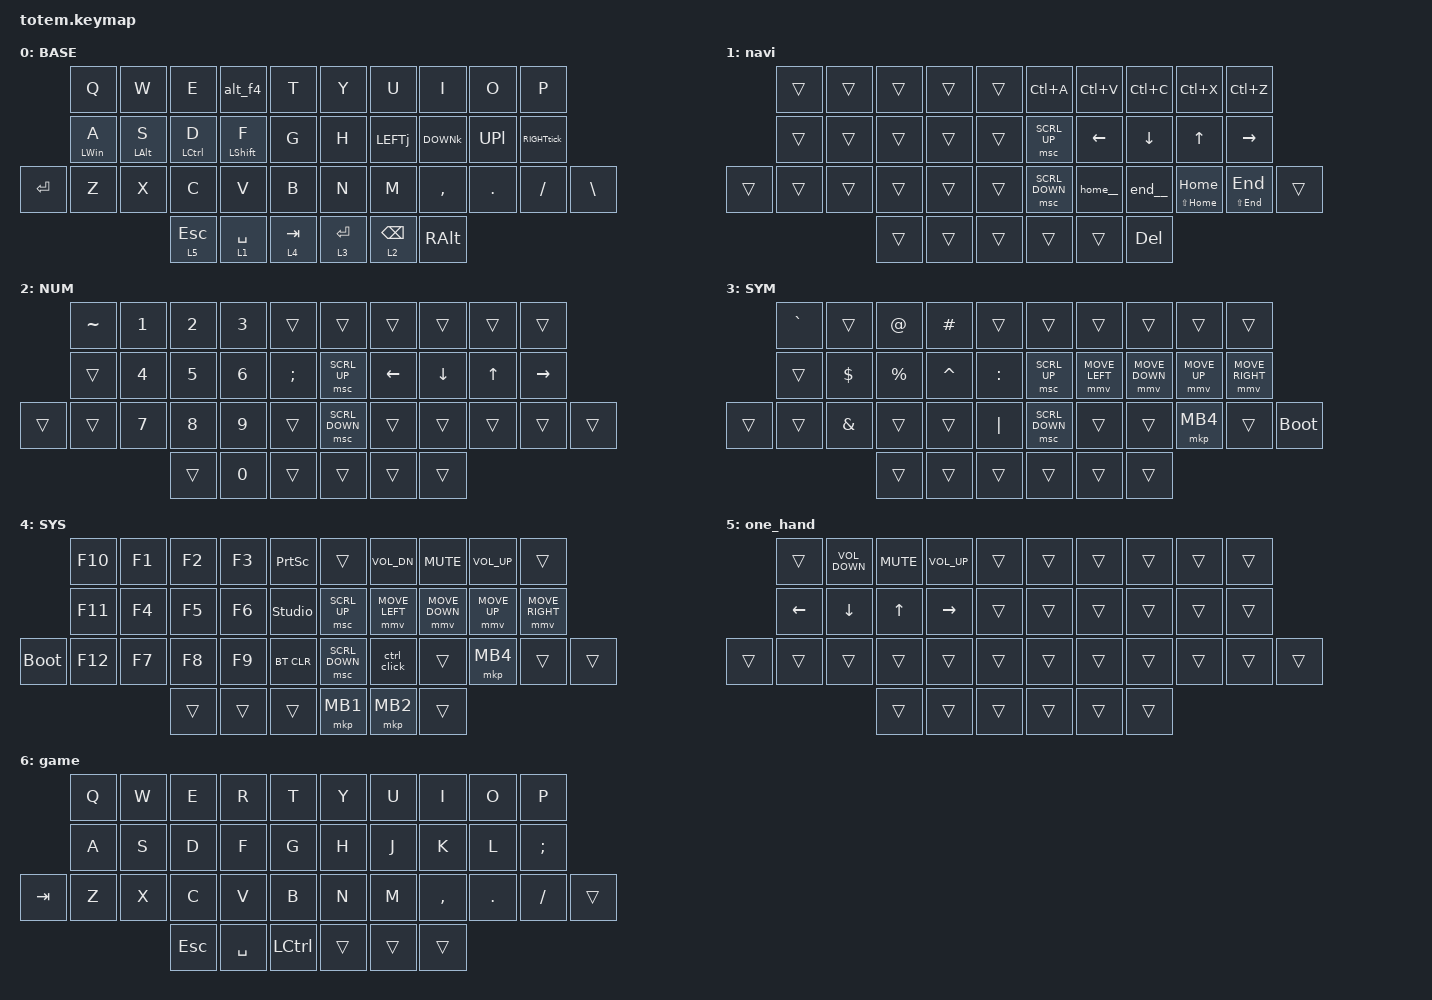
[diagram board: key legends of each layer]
//
//                                                        ▀▀▀▀▀     ▀▀▀▀▀          ▀▀█▀▀
//                                                        ▄▀▀▀▄  ▄  ▄▀▀▀▄  ▄  ▄▀▀▀▄  █  ▄▀▀▀▄
//                                                        █   █  █  █   █  █  █   █  █  █   █
//                                                         ▀▀▀   █   ▀▀▀   █   ▀▀▀   ▀   ▀▀▀
//                                                               █      ▄▄▄█▄▄▄    █   █  
//                                                               ▀      █  █  █     █▄█
//                                                             ▀▀▀▀▀    █  █  █      ▀
//                                                                      ▀  ▀  ▀
//
// ▄▄▄▄▄▄▄▄▄▄▄▄▄▄▄▄▄▄▄▄▄▄▄▄▄▄▄▄▄▄▄▄▄▄▄▄▄▄▄▄▄▄▄▄▄▄▄▄▄▄▄▄▄▄▄▄▄▄▄▄▄▄▄▄▄▄▄▄▄▄▄▄▄▄▄▄▄▄▄▄▄▄▄▄▄▄▄▄▄▄▄▄▄▄▄▄▄▄▄▄▄▄▄▄▄▄▄▄▄▄▄▄▄▄▄▄▄▄▄▄▄▄▄▄▄▄▄▄▄▄▄▄▄▄▄▄▄▄▄▄▄▄▄▄▄▄▄▄▄

#include <behaviors.dtsi>
#include <dt-bindings/zmk/bt.h>
#include <dt-bindings/zmk/keys.h>
#include <dt-bindings/zmk/pointing.h>

&mt {
    quick-tap-ms = <100>;
    global-quick-tap;
    flavor = "tap-preferred";
    tapping-term-ms = <170>;
};

/ {
    behaviors {
        s_left: s_left {
            compatible = "zmk,behavior-hold-tap";
            label = "s_left";
            bindings = <&kp>, <&kp>;

            #binding-cells = <2>;
            tapping-term-ms = <170>;
            quick-tap-ms = <150>;
            flavor = "tap-preferred";
            hold-trigger-key-positions = <5 6 7 8 9 15 16 17 18 19 26 27 28 29 30 31 37 36 35>;
            hold-trigger-on-release;
        };

        amrwin: amrwin {
            compatible = "zmk,behavior-hold-tap";
            label = "AMR";
            bindings = <&kp>, <&kp>;

            #binding-cells = <2>;
            tapping-term-ms = <200>;
            quick-tap-ms = <150>;
            flavor = "tap-preferred";
            hold-trigger-on-release;
            hold-trigger-key-positions = <37 36 35>;
        };

        home__: home__ {
            compatible = "zmk,behavior-tap-dance";
            label = "HOME__";
            #binding-cells = <0>;
            bindings = <&mt PAGE_UP HOME>, <&kp LS(HOME)>;
        };

        end__: end__ {
            compatible = "zmk,behavior-tap-dance";
            label = "END__";
            #binding-cells = <0>;
            bindings = <&mt PAGE_DOWN END>, <&kp LS(END)>;
        };

        s_right: s_right {
            compatible = "zmk,behavior-hold-tap";
            label = "S_RIGHT";
            bindings = <&kp>, <&kp>;

            #binding-cells = <2>;
            tapping-term-ms = <170>;
            quick-tap-ms = <150>;
            flavor = "balanced";
            hold-trigger-on-release;
            hold-trigger-key-positions = <0 2 1 4 3 0 1 2 3 4 10 11 12 13 14 20 21 22 23 24 25 32 33 34>;
        };

        aml: aml {
            compatible = "zmk,behavior-hold-tap";
            label = "AML";
            bindings = <&kp>, <&kp>;

            #binding-cells = <2>;
            tapping-term-ms = <200>;
            quick-tap-ms = <150>;
            flavor = "tap-preferred";
            hold-trigger-on-release;
            hold-trigger-key-positions = <32 33 34>;
        };

        alt_f4: alt_f4 {
            compatible = "zmk,behavior-mod-morph";
            label = "ALT_F4";
            bindings = <&kp R>, <&kp F4>;

            #binding-cells = <0>;
            mods = <(MOD_LALT)>;
            keep-mods = <(MOD_LALT)>;
        };

        LEFTj: LEFTj {
            compatible = "zmk,behavior-mod-morph";
            label = "LEFTJ";
            bindings = <&s_right LEFT_SHIFT J>, <&kp LEFT>;

            #binding-cells = <0>;
            mods = <(MOD_LGUI|MOD_LALT)>;
            keep-mods = <(MOD_LGUI|MOD_LALT)>;
        };

        DOWNk: DOWNk {
            compatible = "zmk,behavior-mod-morph";
            label = "DOWNK";
            bindings = <&amrwin LCTRL K>, <&kp DOWN>;

            #binding-cells = <0>;
            mods = <(MOD_LGUI)>;
            keep-mods = <(MOD_LGUI)>;
        };

        RIGHTtick: RIGHTtick {
            compatible = "zmk,behavior-mod-morph";
            label = "RIGHTTICK";
            bindings = <&amrwin LEFT_WIN SQT>, <&kp RIGHT>;

            #binding-cells = <0>;
            mods = <(MOD_LGUI|MOD_LALT)>;
            keep-mods = <(MOD_LGUI|MOD_LALT)>;
        };

        UPl: UPl {
            compatible = "zmk,behavior-mod-morph";
            label = "UPL";
            bindings = <&amrwin LEFT_ALT L>, <&kp UP_ARROW>;

            #binding-cells = <0>;
            mods = <(MOD_LGUI)>;
            keep-mods = <(MOD_LGUI)>;
        };

        backspace: backspace {
            compatible = "zmk,behavior-hold-tap";
            label = "BACKSPACE";
            bindings = <&mo>, <&kp>;

            #binding-cells = <2>;
            quick-tap-ms = <190>;
            tapping-term-ms = <200>;
            flavor = "balanced";
        };

        amlwin: amlwin {
            compatible = "zmk,behavior-hold-tap";
            label = "AMLWIN";
            bindings = <&kp>, <&kp>;

            #binding-cells = <2>;
            tapping-term-ms = <200>;
            quick-tap-ms = <200>;
            require-prior-idle-ms = <200>;
            flavor = "tap-preferred";
            hold-trigger-on-release;
            hold-trigger-key-positions = <32 33 34>;
        };
    };

    combos {
        compatible = "zmk,combos";

        paren_l {
            bindings = <&kp LEFT_PARENTHESIS>;
            key-positions = <11 12>;
            layers = <0 2 1 3 4>;
        };

        parent_r {
            bindings = <&kp RIGHT_PARENTHESIS>;
            key-positions = <12 13>;
            layers = <0 2 1 3 4>;
        };

        leftbrace {
            bindings = <&kp LEFT_BRACE>;
            key-positions = <1 2>;
            layers = <0 2 1 3 4>;
        };

        rightbrace {
            bindings = <&kp RIGHT_BRACE>;
            key-positions = <2 3>;
            layers = <0 2 1 3 4>;
        };

        leftbraket {
            bindings = <&kp LEFT_BRACKET>;
            key-positions = <22 23>;
            layers = <0 2 1 3 4>;
        };

        rightbraket {
            bindings = <&kp RIGHT_BRACKET>;
            key-positions = <23 24>;
            layers = <0 2 1 3 4>;
        };

        underb {
            bindings = <&kp UNDERSCORE>;
            key-positions = <17 18>;
            layers = <0 2 1 3 4>;
        };

        equal {
            bindings = <&kp EQUAL>;
            key-positions = <18 19>;
            layers = <0 2 1 3 4>;
        };

        minus {
            bindings = <&kp MINUS>;
            key-positions = <16 17>;
            layers = <0 2 1 3 4>;
        };

        plus {
            bindings = <&kp PLUS>;
            key-positions = <13 14>;
            layers = <0 2 1 3 4>;
        };

        multi {
            bindings = <&kp ASTERISK>;
            key-positions = <24 25>;
            layers = <0 2 1 3 4>;
        };

        excl {
            bindings = <&kp EXCLAMATION>;
            key-positions = <11 10>;
            layers = <0 2 1 3 4>;
        };

        del {
            bindings = <&kp DEL>;
            key-positions = <2 13>;
            layers = <0 2 1 3 4>;
        };

        capslock {
            bindings = <&kp CAPSLOCK>;
            key-positions = <13 16 12 17>;
            layers = <0 2 1 3 4>;
        };

        return {
            bindings = <&kp ENTER>;
            key-positions = <32 2>;
            layers = <0 2 1 3 4>;
        };

        game_mode {
            bindings = <&tog 6>;
            key-positions = <20 31>;
        };
    };

    macros {
        ctrl_click: ctrl_click {
            compatible = "zmk,behavior-macro";
            #binding-cells = <0>;
            bindings =
                <&macro_press>,
                <&kp LCTRL>,
                <&macro_tap>,
                <&mkp MB1>,
                <&macro_release>,
                <&kp LCTRL>;

            label = "CTRL_CLICK";
        };
    };

    keymap {
        compatible = "zmk,keymap";

        // ▄▄▄▄▄▄▄▄▄▄▄▄▄▄▄▄▄▄▄▄▄▄▄▄▄▄▄▄▄▄▄▄▄▄▄▄▄▄▄▄▄▄▄▄▄▄▄▄▄▄▄▄▄▄▄▄▄▄▄▄▄▄▄▄▄▄▄▄▄▄▄▄▄▄▄▄▄▄▄▄▄▄▄▄▄▄▄▄▄▄▄▄▄▄▄▄▄▄▄▄▄▄▄▄▄▄▄▄▄▄▄▄▄▄▄▄▄▄▄▄▄▄▄▄▄▄▄▄▄▄▄▄▄▄▄▄▄▄▄▄▄▄▄▄▄▄▄▄▄

        base_layer {
            // ┏━━━━━━━━━━━━━━━━━━━━━━━━━━━━━━━━━━━━━━━┓

            label = "BASE";

            // ┗━━━━━━━━━━━━━━━━━━━━━━━━━━━━━━━━━━━━━━━┛
            //             ┏━━━━━━━━━━━┳━━━━━━━━━━━┳━━━━━━━━━━━┳━━━━━━━━━━━┳━━━━━━━━━━━┓   ┏━━━━━━━━━━━┳━━━━━━━━━━━┳━━━━━━━━━━━┳━━━━━━━━━━━┳━━━━━━━━━━━┓
            //             ┃     Q     ┃     W     ┃     F     ┃     P     ┃     G     ┃   ┃     J     ┃     L     ┃     U     ┃     Y     ┃     ;     ┃
            //             ┣━━━━━━━━━━━╋━━━━━━━━━━━╋━━━━━━━━━━━╋━━━━━━━━━━━╋━━━━━━━━━━━┫   ┣━━━━━━━━━━━╋━━━━━━━━━━━╋━━━━━━━━━━━╋━━━━━━━━━━━╋━━━━━━━━━━━┫
            //             ┃     A     ┃     R     ┃     S     ┃     T     ┃     D     ┃   ┃     H     ┃     N     ┃     E     ┃     I     ┃     O     ┃
            // ┏━━━━━━━━━━━╋━━━━━━━━━━━╋━━━━━━━━━━━╋━━━━━━━━━━━╋━━━━━━━━━━━╋━━━━━━━━━━━┫   ┣━━━━━━━━━━━╋━━━━━━━━━━━╋━━━━━━━━━━━╋━━━━━━━━━━━╋━━━━━━━━━━━╋━━━━━━━━━━━┓
            // ┃     Q     ┃     Z     ┃     X     ┃     C     ┃     V     ┃     B     ┃   ┃     K     ┃     M     ┃     ,     ┃     .     ┃     /     ┃     \     ┃
            // ┗━━━━━━━━━━━┻━━━━━━━━━━━┻━━━━━━━━━━━╋━━━━━━━━━━━╋━━━━━━━━━━━╋━━━━━━━━━━━┫   ┣━━━━━━━━━━━╋━━━━━━━━━━━╋━━━━━━━━━━━╋━━━━━━━━━━━┻━━━━━━━━━━━┻━━━━━━━━━━━┛
            //                                     ┃    DEL    ┃    TAB    ┃    SPC    ┃   ┃   ENTER   ┃           ┃   BSPC    ┃
            //                                     ┗━━━━━━━━━━━┻━━━━━━━━━━━┻━━━━━━━━━━━┛   ┗━━━━━━━━━━━┻━━━━━━━━━━━┻━━━━━━━━━━━┛

            bindings = <
           &kp Q            &kp W            &kp E         &alt_f4               &kp T        &kp Y        &kp U                   &kp I      &kp O    &kp P
           &aml LEFT_WIN A  &aml LEFT_ALT S  &aml LCTRL D  &s_left LEFT_SHIFT F  &kp G        &kp H        &LEFTj                  &DOWNk     &UPl     &RIGHTtick
&kp ENTER  &kp Z            &kp X            &kp C         &kp V                 &kp B        &kp N        &kp M                   &kp COMMA  &kp DOT  &kp FSLH    &kp BSLH
                                             &lt 5 ESCAPE  &lt 1 SPACE           &lt 4 TAB    &lt 3 ENTER  &backspace 2 BACKSPACE  &kp RALT
            >;
        };

        // ▄▄▄▄▄▄▄▄▄▄▄▄▄▄▄▄▄▄▄▄▄▄▄▄▄▄▄▄▄▄▄▄▄▄▄▄▄▄▄▄▄▄▄▄▄▄▄▄▄▄▄▄▄▄▄▄▄▄▄▄▄▄▄▄▄▄▄▄▄▄▄▄▄▄▄▄▄▄▄▄▄▄▄▄▄▄▄▄▄▄▄▄▄▄▄▄▄▄▄▄▄▄▄▄▄▄▄▄▄▄▄▄▄▄▄▄▄▄▄▄▄▄▄▄▄▄▄▄▄▄▄▄▄▄▄▄▄▄▄▄▄▄▄▄▄▄▄▄▄
        // ▄▄▄▄▄▄▄▄▄▄▄▄▄▄▄▄▄▄▄▄▄▄▄▄▄▄▄▄▄▄▄▄▄▄▄▄▄▄▄▄▄▄▄▄▄▄▄▄▄▄▄▄▄▄▄▄▄▄▄▄▄▄▄▄▄▄▄▄▄▄▄▄▄▄▄▄▄▄▄▄▄▄▄▄▄▄▄▄▄▄▄▄▄▄▄▄▄▄▄▄▄▄▄▄▄▄▄▄▄▄▄▄▄▄▄▄▄▄▄▄▄▄▄▄▄▄▄▄▄▄▄▄▄▄▄▄▄▄▄▄▄▄▄▄▄▄▄▄▄
        // ▄▄▄▄▄▄▄▄▄▄▄▄▄▄▄▄▄▄▄▄▄▄▄▄▄▄▄▄▄▄▄▄▄▄▄▄▄▄▄▄▄▄▄▄▄▄▄▄▄▄▄▄▄▄▄▄▄▄▄▄▄▄▄▄▄▄▄▄▄▄▄▄▄▄▄▄▄▄▄▄▄▄▄▄▄▄▄▄▄▄▄▄▄▄▄▄▄▄▄▄▄▄▄▄▄▄▄▄▄▄▄▄▄▄▄▄▄▄▄▄▄▄▄▄▄▄▄▄▄▄▄▄▄▄▄▄▄▄▄▄▄▄▄▄▄▄▄▄▄
        // ▄▄▄▄▄▄▄▄▄▄▄▄▄▄▄▄▄▄▄▄▄▄▄▄▄▄▄▄▄▄▄▄▄▄▄▄▄▄▄▄▄▄▄▄▄▄▄▄▄▄▄▄▄▄▄▄▄▄▄▄▄▄▄▄▄▄▄▄▄▄▄▄▄▄▄▄▄▄▄▄▄▄▄▄▄▄▄▄▄▄▄▄▄▄▄▄▄▄▄▄▄▄▄▄▄▄▄▄▄▄▄▄▄▄▄▄▄▄▄▄▄▄▄▄▄▄▄▄▄▄▄▄▄▄▄▄▄▄▄▄▄▄▄▄▄▄▄▄▄

        navi {
            bindings = <
        &trans  &trans  &trans  &trans  &trans    &kp LC(A)       &kp LC(V)  &kp LC(C)       &kp LC(X)          &kp LC(Z)
        &trans  &trans  &trans  &trans  &trans    &msc SCRL_UP    &kp LEFT   &kp DOWN_ARROW  &kp UP_ARROW       &kp RIGHT
&trans  &trans  &trans  &trans  &trans  &trans    &msc SCRL_DOWN  &home__    &end__          &mt LS(HOME) HOME  &mt LS(END) END  &trans
                        &trans  &trans  &trans    &trans          &trans     &kp DEL
            >;
        };

        NUM {
            bindings = <
        &kp TILDE  &kp N1  &kp N2  &kp N3  &trans           &trans          &trans    &trans    &trans        &trans
        &trans     &kp N4  &kp N5  &kp N6  &kp SEMICOLON    &msc SCRL_UP    &kp LEFT  &kp DOWN  &kp UP_ARROW  &kp RIGHT
&trans  &trans     &kp N7  &kp N8  &kp N9  &trans           &msc SCRL_DOWN  &trans    &trans    &trans        &trans     &trans
                           &trans  &kp N0  &trans           &trans          &trans    &trans
            >;
        };

        SYM {
            bindings = <
        &kp GRAVE  &trans         &kp AT_SIGN  &kp HASH   &trans       &trans          &trans          &trans          &trans        &trans
        &trans     &kp DOLLAR     &kp PERCENT  &kp CARET  &kp COLON    &msc SCRL_UP    &mmv MOVE_LEFT  &mmv MOVE_DOWN  &mmv MOVE_UP  &mmv MOVE_RIGHT
&trans  &trans     &kp AMPERSAND  &trans       &trans     &kp PIPE     &msc SCRL_DOWN  &trans          &trans          &mkp MB4      &trans           &bootloader
                                  &trans       &trans     &trans       &trans          &trans          &trans
            >;
        };

        SYS {
            bindings = <
             &kp F10  &kp F1  &kp F2  &kp F3  &kp PRINTSCREEN    &trans          &kp C_VOL_DN    &kp C_MUTE      &kp C_VOLUME_UP  &trans
             &kp F11  &kp F4  &kp F5  &kp F6  &studio_unlock     &msc SCRL_UP    &mmv MOVE_LEFT  &mmv MOVE_DOWN  &mmv MOVE_UP     &mmv MOVE_RIGHT
&bootloader  &kp F12  &kp F7  &kp F8  &kp F9  &bt BT_CLR         &msc SCRL_DOWN  &ctrl_click     &trans          &mkp MB4         &trans           &trans
                              &trans  &trans  &trans             &mkp MB1        &mkp MB2        &trans
            >;
        };

        one_hand {
            bindings = <
        &trans    &kp C_VOLUME_DOWN  &kp C_MUTE    &kp C_VOLUME_UP  &trans    &trans  &trans  &trans  &trans  &trans
        &kp LEFT  &kp DOWN           &kp UP_ARROW  &kp RIGHT        &trans    &trans  &trans  &trans  &trans  &trans
&trans  &trans    &trans             &trans        &trans           &trans    &trans  &trans  &trans  &trans  &trans  &trans
                                     &trans        &trans           &trans    &trans  &trans  &trans
            >;
        };

        game {
            bindings = <
         &kp Q  &kp W  &kp E    &kp R      &kp T        &kp Y   &kp U   &kp I      &kp O    &kp P
         &kp A  &kp S  &kp D    &kp F      &kp G        &kp H   &kp J   &kp K      &kp L    &kp SEMI
&kp TAB  &kp Z  &kp X  &kp C    &kp V      &kp B        &kp N   &kp M   &kp COMMA  &kp DOT  &kp FSLH  &trans
                       &kp ESC  &kp SPACE  &kp LCTRL    &trans  &trans  &trans
            >;
        };
    };
};
